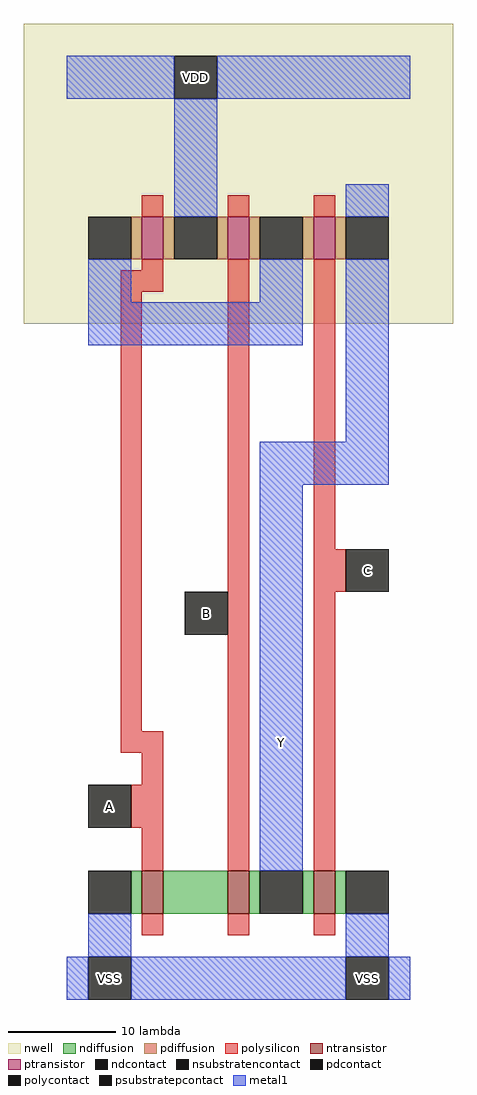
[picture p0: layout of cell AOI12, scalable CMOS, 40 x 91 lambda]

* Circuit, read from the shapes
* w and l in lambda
.subckt AOI12 A B C VDD VSS Y
M1 n1 A VSS VSS nfet w=4 l=2
M2 Y B n1 VSS nfet w=4 l=2
M3 VSS C Y VSS nfet w=4 l=2
M4 VDD A n2 VDD pfet w=4 l=2
M5 n2 B VDD VDD pfet w=4 l=2
M6 Y C n2 VDD pfet w=4 l=2
.ends

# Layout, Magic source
magic
tech scmos
<< nwell >>
rect -4 63 36 91
<< ntransistor >>
rect 7 8 9 12
rect 15 8 17 12
rect 23 8 25 12
<< ptransistor >>
rect 7 69 9 73
rect 15 69 17 73
rect 23 69 25 73
<< ndiffusion >>
rect 6 8 7 12
rect 9 8 15 12
rect 17 8 18 12
rect 22 8 23 12
rect 25 8 26 12
<< pdiffusion >>
rect 6 69 7 73
rect 9 69 10 73
rect 14 69 15 73
rect 17 69 18 73
rect 22 69 23 73
rect 25 69 26 73
<< ndcontact >>
rect 2 8 6 12
rect 18 8 22 12
rect 26 8 30 12
<< pdcontact >>
rect 2 69 6 73
rect 10 69 14 73
rect 18 69 22 73
rect 26 69 30 73
<< psubstratepcontact >>
rect 2 0 6 4
rect 26 0 30 4
<< nsubstratencontact >>
rect 10 84 14 88
<< polysilicon >>
rect 7 73 9 75
rect 15 73 17 75
rect 23 73 25 75
rect 7 68 9 69
rect 5 66 9 68
rect 5 25 7 66
rect 5 23 9 25
rect 7 20 9 23
rect 6 16 9 20
rect 7 12 9 16
rect 15 12 17 69
rect 23 42 25 69
rect 23 38 26 42
rect 23 12 25 38
rect 7 6 9 8
rect 15 6 17 8
rect 23 6 25 8
<< polycontact >>
rect 11 34 15 38
rect 2 16 6 20
rect 26 38 30 42
<< metal1 >>
rect 0 84 10 88
rect 14 84 32 88
rect 10 73 14 84
rect 26 73 30 76
rect 2 65 6 69
rect 18 65 22 69
rect 2 61 22 65
rect 26 52 30 69
rect 18 48 30 52
rect 18 12 22 48
rect 2 4 6 8
rect 26 4 30 8
rect 0 0 2 4
rect 6 0 26 4
rect 30 0 32 4
<< labels >>
rlabel psubstratepcontact 4 2 4 2 1 VSS
rlabel psubstratepcontact 28 2 28 2 1 VSS
rlabel polycontact 4 18 4 18 1 A
rlabel metal1 20 24 20 24 1 Y
rlabel nsubstratencontact 12 86 12 86 1 VDD
rlabel polycontact 13 36 13 36 1 B
rlabel polycontact 28 40 28 40 1 C
<< end >>
